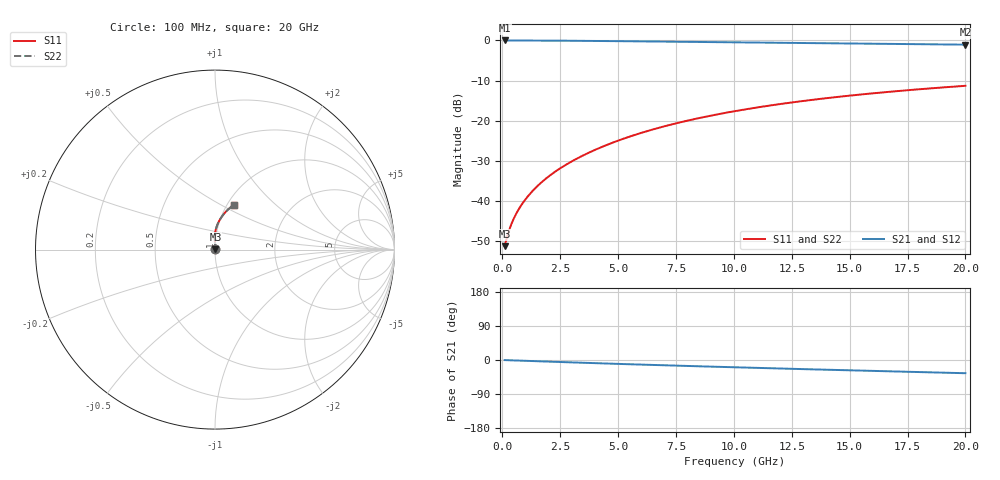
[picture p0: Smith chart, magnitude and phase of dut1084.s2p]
! Touchstone file exported from HFSS 2024.1.0
!  File:  C:/UserFiles/LocalFiles/RDL_TSV_Batchsim/temp_RDL_top_1084_1780045655.aedt
!  Generated:  05:09:34 PM May 29, 2026
!  Design:  RDL_top
!  Project:  temp_RDL_top_1084_1780045655
!  Setup:  Setup1
!  Solution:  Sweep
! Variables:
!  dtsv = 10.80580581um
!  hbump = 3um
!  htsv = 99.32um
!  ldown = 100um
!  lrdl = 506.82um
!  p = 40
!  p1 = 51.53um
!  rhole = 1um
!  t = 450um
!  tdown = 3.915915916um
!  trdl = 2.82um
!  wdown = 15.38538539um
!  wrdl = 29.84um
# GHz S MA R 50.000000
! Terminal data exported
! Port[1] = Box2_T1
! Port[2] = Box2_T2
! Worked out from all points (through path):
!   200 points, 100 MHz to 20 GHz, reference 50 ohm
!   highest |S21| = -0.02 dB at 100 MHz (marker M1); lowest = -1.1 dB at 20 GHz (marker M2)
!   group delay of S21, straight-line fit = 4.77 ps
!   lowest |S11| = -51.3 dB at 100 MHz (marker M3), VSWR 1.01, Z = 50.2 + j0.122 ohm
!   |S11| at or under -10 dB: start of sweep to end of sweep
!   |S22| runs from -51.3 to -11.3 dB; largest |S21 - S12| = 4.3e-15
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0.1  0.002736 26.3  0.9975 -0.2  0.9975 -0.2  0.002736 26.3
! Gamma 0 0 0 0
! Port Impedance 50 0 50 0
0.3  0.004361 51.0  0.9971 -0.7  0.9971 -0.7  0.004361 51.0
0.4  0.005226 56.8  0.9969 -0.9  0.9969 -0.9  0.005227 56.8
0.5  0.006083 61.1  0.9967 -1.1  0.9967 -1.1  0.006083 61.1
0.6  0.006939 64.6  0.9965 -1.3  0.9965 -1.3  0.006939 64.6
0.8  0.008676 69.9  0.9961 -1.7  0.9961 -1.7  0.008676 69.9
1  0.01047 73.9  0.9957 -2.2  0.9957 -2.2  0.01047 73.9
1.2  0.01231 77.0  0.9953 -2.6  0.9953 -2.6  0.01231 77.0
1.7  0.01714 82.4  0.994 -3.6  0.994 -3.6  0.01714 82.3
2.2  0.02228 85.8  0.9923 -4.7  0.9923 -4.7  0.02228 85.7
2.8  0.02884 88.4  0.9898 -5.9  0.9898 -5.9  0.02883 88.4
3.5  0.03703 90.3  0.9864 -7.3  0.9864 -7.3  0.03702 90.3
4.2  0.04579 91.4  0.9826 -8.7  0.9826 -8.7  0.04578 91.3
5  0.05641 91.7  0.9778 -10.3  0.9778 -10.3  0.05639 91.7
5.9  0.069 91.4  0.972 -12.0  0.972 -12.0  0.06899 91.4
6.8  0.08212 90.6  0.9661 -13.6  0.9661 -13.6  0.0821 90.6
8.4  0.1062 88.4  0.9554 -16.4  0.9554 -16.4  0.1062 88.4
10.1  0.1323 85.4  0.9443 -19.3  0.9443 -19.3  0.1322 85.4
11.7  0.1566 82.4  0.9341 -22.0  0.9341 -22.0  0.1565 82.4
13.4  0.1819 79.1  0.9235 -24.7  0.9235 -24.7  0.1818 79.1
16.7  0.2287 72.8  0.9037 -29.9  0.9037 -29.9  0.2286 72.8
20  0.2717 66.9  0.8844 -34.9  0.8844 -34.9  0.2716 66.8
